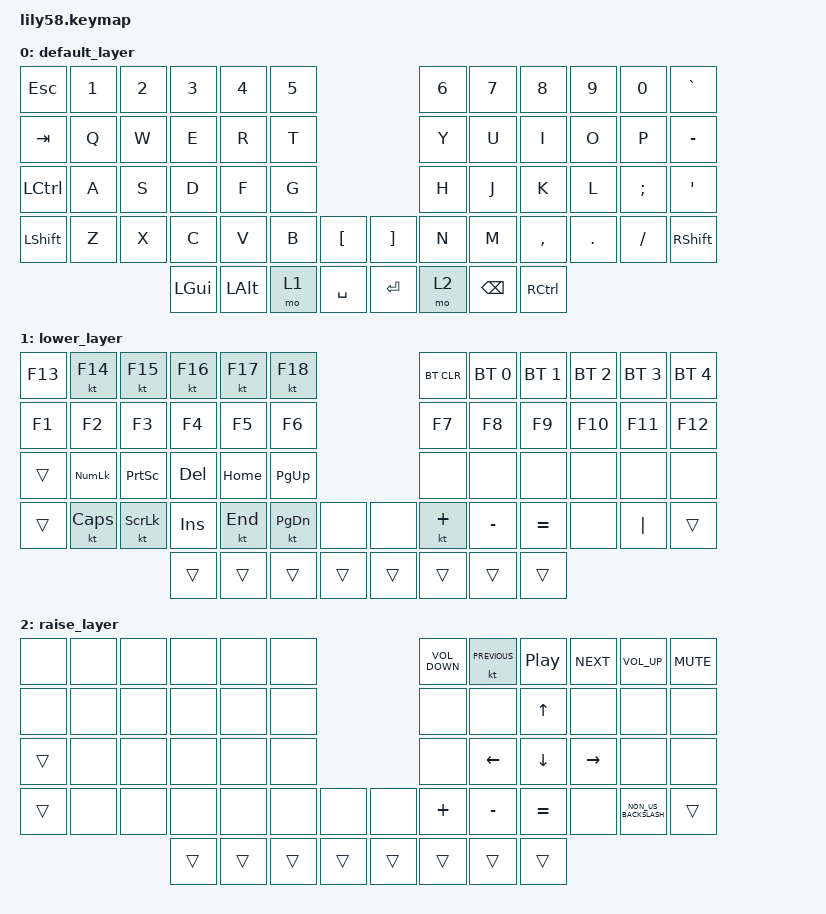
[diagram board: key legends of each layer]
/*
 * Copyright (c) 2020 The ZMK Contributors
 *
 * SPDX-License-Identifier: MIT
 */

#include <behaviors.dtsi>
#include <dt-bindings/zmk/bt.h>
#include <dt-bindings/zmk/keys.h>
#include <dt-bindings/zmk/keys.h>

/ {
    keymap {
        compatible = "zmk,keymap";

        default_layer {
            // ------------------------------------------------------------------------------------------------------------
            // |  ESC  |  1  |  2  |  3   |  4   |  5   |                   |  6   |  7    |  8    |  9   |   0   |   `   |
            // |  TAB  |  Q  |  W  |  E   |  R   |  T   |                   |  Y   |  U    |  I    |  O   |   P   |   -   |
            // |  CTRL |  A  |  S  |  D   |  F   |  G   |                   |  H   |  J    |  K    |  L   |   ;   |   '   |
            // | SHIFT |  Z  |  X  |  C   |  V   |  B   |   "["  |  |  "]"  |  N   |  M    |  ,    |  .   |   /   | SHIFT |
            //                     | GUI  | ALT  | LOWER|  SPACE |  | ENTER | RAISE| BSPC  | CTRL  |

            bindings = <
&kp ESC    &kp N1  &kp N2  &kp N3        &kp N4    &kp N5                         &kp N6  &kp N7    &kp N8     &kp N9   &kp N0    &kp GRAVE
&kp TAB    &kp Q   &kp W   &kp E         &kp R     &kp T                          &kp Y   &kp U     &kp I      &kp O    &kp P     &kp MINUS
&kp LCTRL  &kp A   &kp S   &kp D         &kp F     &kp G                          &kp H   &kp J     &kp K      &kp L    &kp SEMI  &kp SQT
&kp LSHFT  &kp Z   &kp X   &kp C         &kp V     &kp B   &kp LBKT     &kp RBKT  &kp N   &kp M     &kp COMMA  &kp DOT  &kp FSLH  &kp RSHFT
                           &kp LEFT_GUI  &kp LALT  &mo 1   &kp SPACE    &kp RET   &mo 2   &kp BSPC  &kp RCTRL
            >;
        };

        lower_layer {
            // ------------------------------------------------------------------------------------------------------------
            // |  F13  | F14 | F15 |  F16 |  F17 |  F18 |                   | BT_cl| BT_0  | BT_1  | BT_2 | BT_3  | BT_4  |
            // |  F1   |  F2 |  F3 |  F4  |  F5  |  F6  |                   |  F7  |  F8   |  F9   |  F10 |  F11  |  F12  |
            // |       |     | PRSC| DEL  | HOME | P_UP |                   |      |       |       |      |       |       |
            // |       |     |     | INS  | END  | P_DW |        |  |       |  +   |  -    |  =    |      |   |   |       |
            //                     | GUI  | ALT  | LOWER|  SPACE |  | ENTER | RAISE| BSPC  | CTRL  |

            bindings = <
&kp F13  &kt F14         &kt F15          &kt F16  &kt F17   &kt F18                          &bt BT_CLR  &bt BT_SEL 0  &bt BT_SEL 1  &bt BT_SEL 2  &bt BT_SEL 3  &bt BT_SEL 4
&kp F1   &kp F2          &kp F3           &kp F4   &kp F5    &kp F6                           &kp F7      &kp F8        &kp F9        &kp F10       &kp F11       &kp F12
&trans   &kp KP_NUMLOCK  &kp PRINTSCREEN  &kp DEL  &kp HOME  &kp PAGE_UP                      &none       &none         &none         &none         &none         &none
&trans   &kt CAPSLOCK    &kt SCROLLLOCK   &kp INS  &kt END   &kt PAGE_DOWN  &none     &none   &kt PLUS    &kp MINUS     &kp EQUAL     &none         &kp PIPE      &trans
                                          &trans   &trans    &trans         &trans    &trans  &trans      &trans        &trans
            >;
        };

        raise_layer {
            // ------------------------------------------------------------------------------------------------------------
            // |       |     |     |      |      |      |                   |  VD  |  Pre  |  PP   |  Nex |  DW   |  Mute |
            // |       |     |     |      |      |      |                   |      |       |   ^   |      |       |       |
            // |       |     |     |      |      |      |                   |      |   <-  |   v   |  ->  |       |       |
            // |       |     |     |      |      |      |        |  |       |  +   |   -   |   =   |      |   \   |       |
            //                     | GUI  | ALT  | LOWER|  SPACE |  | ENTER | RAISE| BSPC  | CTRL  |

            bindings = <
&none   &none  &none  &none   &none   &none                     &kp C_VOLUME_DOWN  &kt C_PREVIOUS  &kp C_PLAY_PAUSE  &kp C_NEXT  &kp C_VOLUME_UP       &kp C_MUTE
&none   &none  &none  &none   &none   &none                     &none              &none           &kp UP_ARROW      &none       &none                 &none
&trans  &none  &none  &none   &none   &none                     &none              &kp LEFT        &kp DOWN          &kp RIGHT   &none                 &none
&trans  &none  &none  &none   &none   &none   &none     &none   &kp PLUS           &kp MINUS       &kp EQUAL         &none       &kp NON_US_BACKSLASH  &trans
                      &trans  &trans  &trans  &trans    &trans  &trans             &trans          &trans
            >;
        };
    };
};
